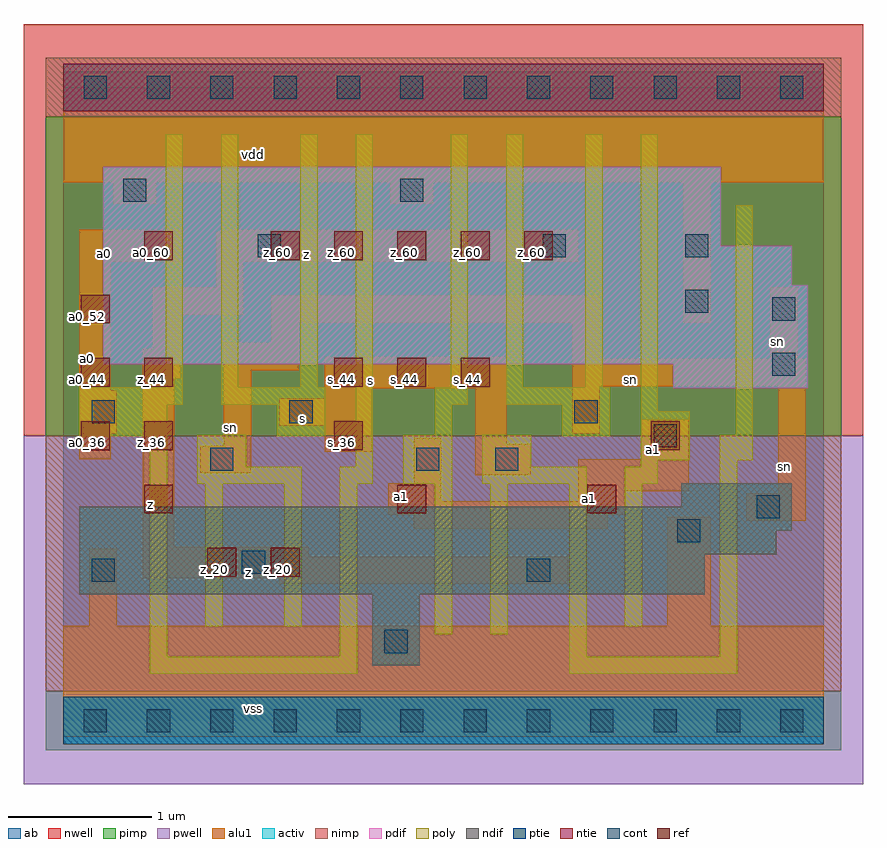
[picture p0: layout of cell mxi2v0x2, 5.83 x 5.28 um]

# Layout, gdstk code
import gdstk
lib = gdstk.Library(unit=1e-6, precision=2.5e-09)
def R(c, l, rs):  # rectangles x0, y0, x1, y1
    for r in rs: c.add(gdstk.rectangle(r[:2], r[2:], *l))
def A(c, l, x, y, w, h, nx, ny, dx, dy):  # array of equal rectangles
    R(c, l, [(x+i*dx, y+j*dy, x+i*dx+w, y+j*dy+h) for i in range(nx) for j in range(ny)])
ndif = (3, 0)
pdif = (4, 0)
ntie = (5, 0)
ptie = (6, 0)
ref = (24, 0)
cont = (25, 0)
pwell = (41, 0)
nwell = (42, 0)
activ = (43, 0)
pimp = (44, 0)
nimp = (45, 0)
poly = (46, 0)
alu1 = (49, 0)
ab = (63, 0)

mxi2v0x2 = lib.new_cell('mxi2v0x2')
R(mxi2v0x2, ndif, [(2.145,0.385,2.475,0.88), (0.11,0.88,4.455,1.155), (0.11,1.155,4.95,1.32), (0.11,1.32,5.06,1.485), (4.29,1.485,5.06,1.65)])
R(mxi2v0x2, pdif, [(4.235,2.31,5.17,2.475), (0.275,2.475,5.17,3.025), (0.275,3.025,5.06,3.3), (0.275,3.3,4.565,3.85)])
R(mxi2v0x2, ntie, [(0,4.235,5.28,4.565)])
R(mxi2v0x2, ptie, [(0,-0.165,5.28,0.165)])
A(mxi2v0x2, ref, 0.56, 1.44, 0.2, 0.2, 1, 3, 0, 0.44)
A(mxi2v0x2, ref, 0.12, 1.88, 0.2, 0.2, 1, 3, 0, 0.44)
A(mxi2v0x2, ref, 1.88, 2.32, 0.2, 0.2, 3, 1, 0.44, 0)
A(mxi2v0x2, ref, 1.44, 3.2, 0.2, 0.2, 5, 1, 0.44, 0)
R(mxi2v0x2, ref, [(1,1,1.2,1.2), (1.44,1,1.64,1.2), (2.32,1.44,2.52,1.64), (3.64,1.44,3.84,1.64), (1.88,1.88,2.08,2.08), (4.08,1.88,4.28,2.08), (0.56,3.2,0.76,3.4)])
A(mxi2v0x2, cont, 0.14, -0.08, 0.16, 0.16, 12, 2, 0.44, 4.4)
R(mxi2v0x2, cont, [(2.23,0.47,2.39,0.63), (0.195,0.965,0.355,1.125), (3.22,0.965,3.38,1.125), (1.24,1.02,1.4,1.18), (4.265,1.24,4.425,1.4), (4.815,1.405,4.975,1.565), (1.02,1.735,1.18,1.895), (2.45,1.735,2.61,1.895), (3,1.735,3.16,1.895), (4.1,1.9,4.26,2.06), (0.195,2.065,0.355,2.225), (1.57,2.065,1.73,2.225), (3.55,2.065,3.71,2.225), (4.925,2.395,5.085,2.555), (4.925,2.78,5.085,2.94), (4.32,2.835,4.48,2.995), (1.35,3.22,1.51,3.38), (3.33,3.22,3.49,3.38), (4.32,3.22,4.48,3.38), (0.415,3.605,0.575,3.765), (2.34,3.605,2.5,3.765)])
R(mxi2v0x2, pwell, [(-0.275,-0.44,5.555,1.98)])
R(mxi2v0x2, nwell, [(-0.275,1.98,5.555,4.84)])
R(mxi2v0x2, activ, [(0,-0.165,5.28,0.165), (2.145,0.385,2.475,0.88), (0.11,0.88,4.455,1.155), (0.11,1.155,4.95,1.32), (0.11,1.32,5.06,1.485), (4.29,1.485,5.06,1.65), (4.235,2.31,5.17,2.475), (0.275,2.475,5.17,3.025), (0.275,3.025,5.06,3.3), (0.275,3.3,4.565,3.85), (0,4.235,5.28,4.565)])
R(mxi2v0x2, pimp, [(-0.125,-0.205,5.405,0.205), (-0.125,1.98,5.405,4.195)])
R(mxi2v0x2, nimp, [(-0.125,0.205,5.405,1.98), (-0.125,4.195,5.405,4.605)])
R(mxi2v0x2, poly, [(0.6,0.325,2.04,0.445), (3.515,0.325,4.68,0.445), (0.6,0.445,0.72,1.975), (1.92,0.445,2.04,1.645), (3.515,0.445,3.635,1.645), (4.56,0.445,4.68,1.81), (2.58,0.6,2.7,1.645), (2.965,0.6,3.085,1.645), (0.985,0.655,1.105,1.645), (1.535,0.655,1.655,1.645), (3.9,0.655,4.02,1.645), (0.93,1.645,1.655,1.765), (1.92,1.645,2.15,1.765), (2.36,1.645,2.7,1.985), (2.91,1.645,3.635,1.765), (3.9,1.645,4.13,1.765), (0.93,1.765,1.27,1.985), (2.03,1.765,2.15,4.075), (2.91,1.765,3.25,1.985), (4.01,1.765,4.13,1.81), (4.01,1.81,4.35,2.15), (4.56,1.81,4.79,1.985), (0.105,1.975,0.72,2.195), (1.48,1.975,1.82,2.195), (3.46,1.975,3.8,2.195), (2.58,1.985,2.7,2.195), (4.67,1.985,4.79,3.58), (4.01,2.15,4.13,4.075), (0.105,2.195,0.83,2.315), (1.095,2.195,1.82,2.315), (2.58,2.195,2.81,2.315), (3.075,2.195,3.8,2.315), (0.71,2.315,0.83,4.075), (1.095,2.315,1.215,4.075), (1.645,2.315,1.765,4.075), (2.69,2.315,2.81,4.075), (3.075,2.315,3.195,4.075), (3.625,2.315,3.745,4.075)])
R(mxi2v0x2, alu1, [(0,-0.11,5.28,0.66), (0.18,0.66,0.37,1.195), (4.195,0.66,4.495,1.415), (1.5,0.95,3.505,0.99), (0.55,0.99,3.505,1.14), (0.55,1.14,1.705,1.21), (0.55,1.21,0.77,2.38), (2.435,1.335,3.78,1.43), (4.745,1.39,5.155,1.58), (2.255,1.43,3.905,1.525), (2.255,1.525,2.625,1.65), (3.575,1.525,3.905,1.595), (4.965,1.58,5.155,2.325), (3.575,1.595,4.345,1.815), (2.435,1.65,2.625,1.965), (2.86,1.705,3.245,1.925), (0.95,1.72,1.305,1.91), (0.11,1.815,0.33,1.995), (4.015,1.815,4.345,2.09), (1.815,1.87,2.145,2.05), (1.115,1.91,1.305,2.435), (2.86,1.925,3.08,2.31), (0.11,1.995,0.37,2.295), (3.535,1.995,3.725,2.325), (1.5,2.05,2.145,2.24), (1.815,2.24,2.145,2.31), (0.11,2.295,0.33,3.19), (1.815,2.31,3.08,2.53), (3.535,2.325,5.155,2.515), (0.55,2.38,0.81,2.585), (1.115,2.435,1.635,2.625), (3.535,2.515,3.725,2.765), (4.91,2.515,5.1,3.01), (0.62,2.585,0.81,2.82), (1.445,2.625,1.635,2.765), (1.445,2.765,3.725,2.955), (4.305,2.765,4.495,3.74), (0.62,2.82,1.25,3.01), (1.06,3.01,1.25,3.19), (0.11,3.19,0.825,3.41), (1.06,3.19,3.575,3.395), (1.155,3.395,3.575,3.41), (0.345,3.59,0.645,3.74), (2.27,3.59,2.57,3.74), (0,3.74,5.28,4.51)])
R(mxi2v0x2, ab, [(0,0,5.28,4.4)])
mxi2v0x2.add(gdstk.Label('vss', (1.32,0.0825), layer=49, texttype=0))
mxi2v0x2.add(gdstk.Label('z', (1.2875,1.0275), layer=49, texttype=0))
mxi2v0x2.add(gdstk.Label('sn', (5.0125,1.765), layer=49, texttype=0))
mxi2v0x2.add(gdstk.Label('a1', (3.6575,1.5425), layer=49, texttype=0))
mxi2v0x2.add(gdstk.Label('a1', (2.3475,1.555), layer=49, texttype=0))
mxi2v0x2.add(gdstk.Label('a1', (4.0975,1.8825), layer=49, texttype=0))
mxi2v0x2.add(gdstk.Label('sn', (3.94,2.3725), layer=49, texttype=0))
mxi2v0x2.add(gdstk.Label('sn', (4.9575,2.6375), layer=49, texttype=0))
mxi2v0x2.add(gdstk.Label('s', (1.66,2.0975), layer=49, texttype=0))
mxi2v0x2.add(gdstk.Label('s', (2.13,2.365), layer=49, texttype=0))
mxi2v0x2.add(gdstk.Label('sn', (1.1625,2.04), layer=49, texttype=0))
mxi2v0x2.add(gdstk.Label('z', (0.605,1.5025), layer=49, texttype=0))
mxi2v0x2.add(gdstk.Label('a0', (0.165,2.5175), layer=49, texttype=0))
mxi2v0x2.add(gdstk.Label('z', (1.6875,3.24), layer=49, texttype=0))
mxi2v0x2.add(gdstk.Label('a0', (0.2875,3.245), layer=49, texttype=0))
mxi2v0x2.add(gdstk.Label('vdd', (1.32,3.9325), layer=49, texttype=0))
mxi2v0x2.add(gdstk.Label('a1_28', (2.37,1.49), layer=24, texttype=0))
mxi2v0x2.add(gdstk.Label('s_36', (1.93,1.93), layer=24, texttype=0))
mxi2v0x2.add(gdstk.Label('s_44', (2.81,2.37), layer=24, texttype=0))
mxi2v0x2.add(gdstk.Label('s_44', (2.37,2.37), layer=24, texttype=0))
mxi2v0x2.add(gdstk.Label('s_44', (1.93,2.37), layer=24, texttype=0))
mxi2v0x2.add(gdstk.Label('a0_60', (0.61,3.25), layer=24, texttype=0))
mxi2v0x2.add(gdstk.Label('a0_36', (0.17,1.93), layer=24, texttype=0))
mxi2v0x2.add(gdstk.Label('a0_52', (0.17,2.81), layer=24, texttype=0))
mxi2v0x2.add(gdstk.Label('a0_44', (0.17,2.37), layer=24, texttype=0))
mxi2v0x2.add(gdstk.Label('a1_28', (3.69,1.49), layer=24, texttype=0))
mxi2v0x2.add(gdstk.Label('z_28', (0.61,1.49), layer=24, texttype=0))
mxi2v0x2.add(gdstk.Label('z_36', (0.61,1.93), layer=24, texttype=0))
mxi2v0x2.add(gdstk.Label('z_44', (0.61,2.37), layer=24, texttype=0))
mxi2v0x2.add(gdstk.Label('z_60', (3.25,3.25), layer=24, texttype=0))
mxi2v0x2.add(gdstk.Label('z_60', (2.81,3.25), layer=24, texttype=0))
mxi2v0x2.add(gdstk.Label('z_60', (2.37,3.25), layer=24, texttype=0))
mxi2v0x2.add(gdstk.Label('z_60', (1.93,3.25), layer=24, texttype=0))
mxi2v0x2.add(gdstk.Label('z_60', (1.49,3.25), layer=24, texttype=0))
mxi2v0x2.add(gdstk.Label('a1_36', (4.13,1.93), layer=24, texttype=0))
mxi2v0x2.add(gdstk.Label('z_20', (1.49,1.05), layer=24, texttype=0))
mxi2v0x2.add(gdstk.Label('z_20', (1.05,1.05), layer=24, texttype=0))

lib.write_gds('mxi2v0x2.gds')
